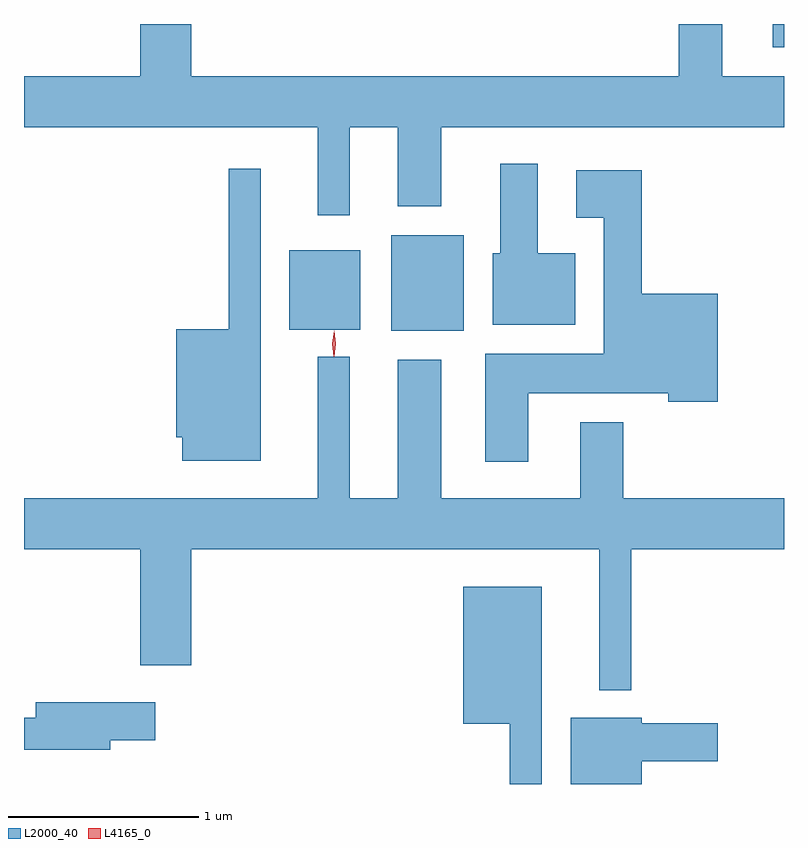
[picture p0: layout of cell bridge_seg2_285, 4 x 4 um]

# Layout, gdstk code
import gdstk
lib = gdstk.Library(unit=1e-6, precision=1e-09)
def R(c, l, rs):  # rectangles x0, y0, x1, y1
    for r in rs: c.add(gdstk.rectangle(r[:2], r[2:], *l))
def P(c, l, *ps):  # polygons
    for p in ps: c.add(gdstk.Polygon(p, *l))
L2000_40 = (2000, 40)
L4165_0 = (4165, 0)

bridge_seg2_285 = lib.new_cell('bridge_seg2_285')
R(bridge_seg2_285, L2000_40, [(536.076,1076.106,536.459,1076.609), (535.541,1076.111,535.914,1076.529), (538.086,1077.598,538.144,1077.72)])
P(bridge_seg2_285, L2000_40, [(535.859,1077.176),(536.111,1077.176),(536.111,1076.761),(536.339,1076.761),(536.339,1077.176),(538.144,1077.176),(538.144,1077.444),(537.819,1077.444),(537.819,1077.72),(537.591,1077.72),(537.591,1077.444),(535.024,1077.444),(535.024,1077.72),(534.756,1077.72),(534.756,1077.444),(534.144,1077.444),(534.144,1077.176),(535.691,1077.176),(535.691,1076.713),(535.859,1076.713)],
  [(537.044,1076.514),(536.849,1076.514),(536.849,1076.984),(536.651,1076.984),(536.651,1076.514),(536.611,1076.514),(536.611,1076.136),(537.044,1076.136)],
  [(535.389,1076.958),(535.221,1076.958),(535.221,1076.114),(534.946,1076.114),(534.946,1075.546),(534.976,1075.546),(534.976,1075.421),(535.389,1075.421)],
  [(536.799,1075.776),(537.536,1075.776),(537.536,1075.731),(537.794,1075.731),(537.794,1076.299),(537.394,1076.299),(537.394,1076.949),(537.051,1076.949),(537.051,1076.701),(537.196,1076.701),(537.196,1075.984),(536.571,1075.984),(536.571,1075.416),(536.799,1075.416)],
  [(537.339,1074.956),(538.144,1074.956),(538.144,1075.224),(537.299,1075.224),(537.299,1075.624),(537.071,1075.624),(537.071,1075.224),(536.339,1075.224),(536.339,1075.954),(536.111,1075.954),(536.111,1075.224),(535.859,1075.224),(535.859,1075.968),(535.691,1075.968),(535.691,1075.224),(534.144,1075.224),(534.144,1074.956),(534.756,1074.956),(534.756,1074.346),(535.024,1074.346),(535.024,1074.956),(537.171,1074.956),(537.171,1074.213),(537.339,1074.213)],
  [(536.869,1074.759),(536.456,1074.759),(536.456,1074.036),(536.701,1074.036),(536.701,1073.72),(536.869,1073.72)],
  [(534.599,1073.951),(534.834,1073.951),(534.834,1074.149),(534.206,1074.149),(534.206,1074.069),(534.144,1074.069),(534.144,1073.901),(534.599,1073.901)],
  [(537.394,1073.841),(537.794,1073.841),(537.794,1074.039),(537.394,1074.039),(537.394,1074.069),(537.021,1074.069),(537.021,1073.72),(537.394,1073.72)])
P(bridge_seg2_285, L4165_0, [(535.775,1075.973),(535.775,1075.974),(535.766,1076.037),(535.776,1076.101),(535.776,1076.102),(535.777,1076.101),(535.786,1076.037),(535.776,1075.974)],
  [(535.775,1075.97),(535.775,1075.97),(535.766,1076.038),(535.776,1076.106),(535.776,1076.106),(535.777,1076.106),(535.786,1076.038),(535.776,1075.97)])

lib.write_gds('bridge_seg2_285.gds')
